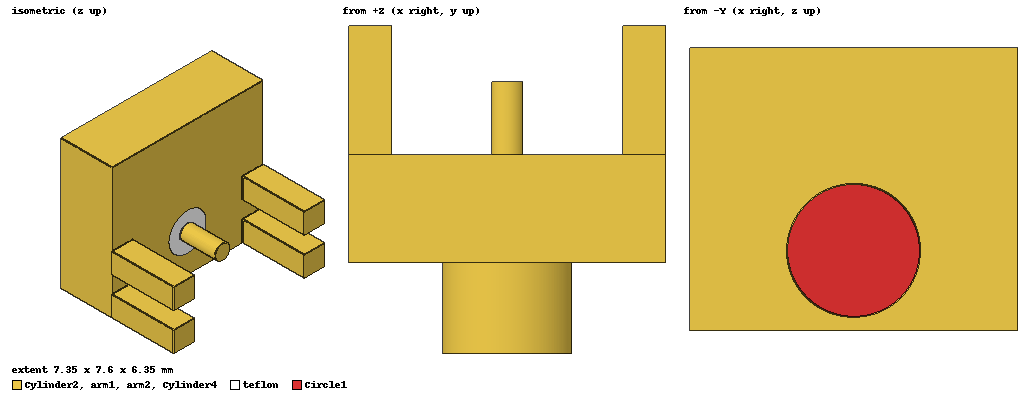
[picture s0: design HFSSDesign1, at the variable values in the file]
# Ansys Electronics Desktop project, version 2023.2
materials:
  vacuum: permittivity=1
  pec: conductivity=1e+30
  Teflon (tm): permittivity=2.1 dielectric_loss_tangent=0.001

design HFSSDesign1 (HFSS, HFSS Terminal Network, model units mm)
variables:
  SX = 7.35mm
  SY = 2.5mm
  SZ = 6.35mm
  subH = 0.8mm
  RT = 0.9mm
  rpin = 0.36mm
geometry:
  SMA_BODY = box(corner=(SX, 0mm, 0mm), size=(SX, SY, SZ))
  coordinate_system RelativeCS1 = origin=(14.7mm, 2.5mm, 0mm) x=(1mm, 0mm, 0mm) y=(0mm, 1mm, 0mm)
  arm1 [pec] = box(corner=(0mm, 0mm, 0mm), size=(-1mm, 3mm, 1mm)) in RelativeCS1
  coordinate_system RelativeCS2 = origin=(-7.35mm, 0mm, 0mm) x=(1mm, 0mm, 0mm) y=(0mm, 1mm, 0mm) in RelativeCS1
  arm2 [pec] = box(corner=(0mm, 0mm, 0mm), size=(1mm, 3mm, 1mm)) in RelativeCS2
  coordinate_system RelativeCS3 = origin=(0mm, 0mm, 1mm) x=(1mm, 0mm, 0mm) y=(0mm, 1mm, 0mm) in RelativeCS2
  coordinate_system RelativeCS4 = origin=(0mm, 0mm, subH) x=(1mm, 0mm, 0mm) y=(0mm, 1mm, 0mm) in RelativeCS3
  arm1.duplicate_along_line(step=(0mm, 0mm, 1.8125mm), total=2, attached) in RelativeCS4
  arm2.duplicate_along_line(step=(0mm, 0mm, 1.8125mm), total=2, attached) in RelativeCS4
  coordinate_system RelativeCS5 = origin=(SX/2, 0mm, 0mm) x=(1mm, 0mm, 0mm) y=(0mm, 1mm, 0mm) in RelativeCS4
  Cylinder1 = cylinder(axis=Y, base_centre=(0mm, 0mm, 0mm), radius=RT, height=-SY) in RelativeCS5
  SMA_BODY.subtract(Cylinder1)
  teflon [Teflon (tm)] = cylinder(axis=Y, base_centre=(0mm, 0mm, 0mm), radius=rt, height=-SY) in RelativeCS5
  pin = cylinder(axis=Y, base_centre=(0mm, 0mm, 0mm), radius=rpin, height=-sy) in RelativeCS5
  teflon.subtract(pin)
  pin_1 = cylinder(axis=Y, base_centre=(0mm, 0mm, 0mm), radius=rpin, height=-sy) in RelativeCS5
  pin_2 = cylinder(axis=Y, base_centre=(0mm, 0mm, 0mm), radius=0.36055513mm, height=1.7mm) in RelativeCS5
  pin_2.unite(pin_1)
  Cylinder2 [pec] = cylinder(axis=Y, base_centre=(0mm, -2.5mm, 0mm), radius=1.5mm, height=-2.1mm) in RelativeCS5
  Cylinder3 = cylinder(axis=Y, base_centre=(0mm, -4.6mm, 0mm), radius=1.1401754mm, height=2.1mm) in RelativeCS5
  Cylinder2.subtract(Cylinder3)
  Cylinder4 [pec] = cylinder(axis=Y, base_centre=(0mm, -2.5mm, 0mm), radius=0.36mm, height=-2.1mm) in RelativeCS5
  Cylinder4.unite(pin_2)
  Cylinder2.unite(SMA_BODY)
  Cylinder5 = cylinder(axis=Y, base_centre=(0mm, -4.6mm, 0mm), radius=1.118034mm, height=2.1mm) in RelativeCS5
  Cylinder6 = cylinder(axis=Y, base_centre=(0mm, -4.6mm, 0mm), radius=0.36mm, height=2.1mm) in RelativeCS5
  Cylinder5.subtract(Cylinder6)
  teflon.unite(Cylinder5)
  Circle1 = circle(normal=Y, centre=(0mm, -4.6mm, 0mm), radius=1.4764823mm) in RelativeCS5
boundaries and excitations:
  1: Wave Port Objects=Circle1 WavePortType=Modal NumModes=1 Modes{Mode1{IntLine{(10925mm, -2100mm, 2900mm) -> (10925mm, -2100mm, 2100mm)} CharImp=Zpi}}
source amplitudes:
  1:1: 1V 0deg
